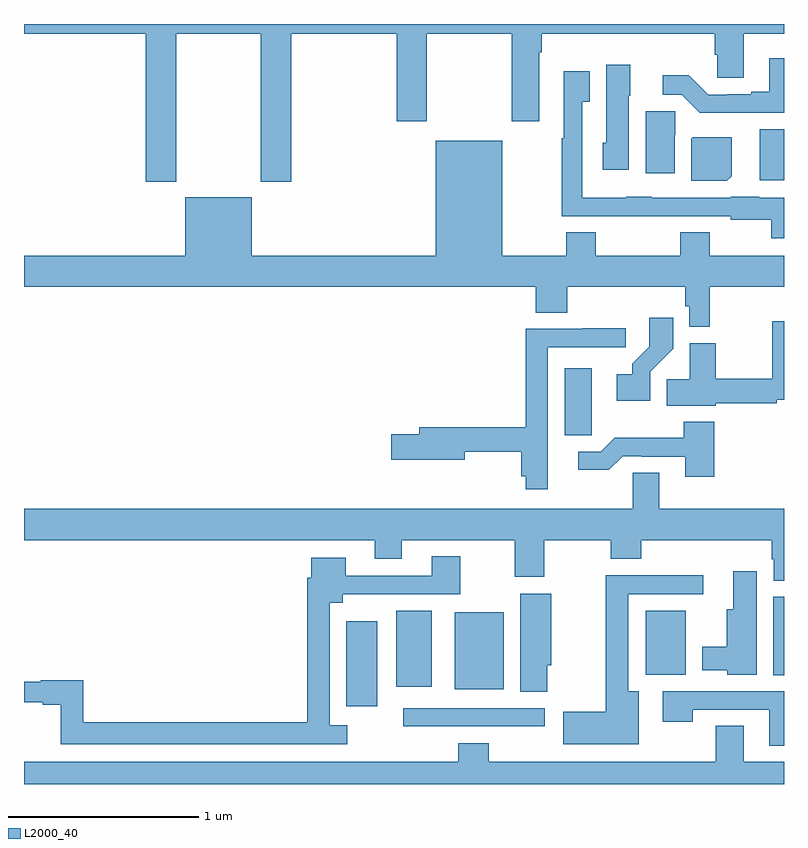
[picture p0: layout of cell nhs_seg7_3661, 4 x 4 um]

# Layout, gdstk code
import gdstk
lib = gdstk.Library(unit=1e-6, precision=1e-09)
def R(c, l, rs):  # rectangles x0, y0, x1, y1
    for r in rs: c.add(gdstk.rectangle(r[:2], r[2:], *l))
def P(c, l, *ps):  # polygons
    for p in ps: c.add(gdstk.Polygon(p, *l))
L2000_40 = (2000, 40)

nhs_seg7_3661 = lib.new_cell('nhs_seg7_3661')
R(nhs_seg7_3661, L2000_40, [(346.995,998.304,347.74,998.4), (346.697,998.409,346.858,998.857), (347.267,998.498,347.524,998.905), (346.958,998.513,347.146,998.911), (348.944,998.572,349,998.986), (348.272,998.576,348.484,998.911), (348.872,1001.177,349,1001.446)])
P(nhs_seg7_3661, L2000_40, [(345,1001.948),(345.641,1001.948),(345.641,1001.169),(345.801,1001.169),(345.801,1001.948),(346.246,1001.948),(346.246,1001.169),(346.406,1001.169),(346.406,1001.948),(346.961,1001.948),(346.961,1001.487),(347.121,1001.487),(347.121,1001.948),(347.566,1001.948),(347.566,1001.487),(347.713,1001.487),(347.713,1001.852),(347.726,1001.852),(347.726,1001.948),(348.635,1001.948),(348.635,1001.838),(348.648,1001.838),(348.648,1001.716),(348.787,1001.716),(348.787,1001.948),(349,1001.948),(349,1002),(345,1002)],
  [(349,1001.821),(348.923,1001.821),(348.923,1001.644),(348.827,1001.644),(348.827,1001.631),(348.7,1001.631),(348.7,1001.628),(348.6,1001.628),(348.498,1001.731),(348.363,1001.731),(348.363,1001.628),(348.462,1001.628),(348.557,1001.534),(349,1001.534)],
  [(348.184,1001.622),(348.19,1001.622),(348.19,1001.785),(348.065,1001.785),(348.065,1001.376),(348.047,1001.376),(348.047,1001.232),(348.184,1001.232)],
  [(349,1001.086),(348.87,1001.086),(348.87,1001.092),(348.72,1001.092),(348.72,1001.085),(348.303,1001.085),(348.303,1001.092),(348.171,1001.092),(348.171,1001.086),(347.937,1001.086),(347.937,1001.591),(347.977,1001.591),(347.977,1001.752),(347.841,1001.752),(347.841,1001.399),(347.829,1001.399),(347.829,1000.989),(348.071,1000.989),(348.071,1000.988),(348.303,1000.988),(348.303,1000.989),(348.72,1000.989),(348.72,1000.97),(348.933,1000.97),(348.933,1000.872),(349,1000.872)],
  [(348.424,1001.418),(348.428,1001.418),(348.428,1001.541),(348.272,1001.541),(348.272,1001.214),(348.424,1001.214)],
  [(348.724,1001.2),(348.724,1001.404),(348.52,1001.404),(348.512,1001.396),(348.512,1001.174),(348.698,1001.174)],
  [(348.61,1000.616),(349,1000.616),(349,1000.78),(348.609,1000.78),(348.609,1000.904),(348.454,1000.904),(348.454,1000.78),(348.009,1000.78),(348.009,1000.904),(347.854,1000.904),(347.854,1000.78),(347.518,1000.78),(347.518,1001.386),(347.168,1001.386),(347.168,1000.78),(346.198,1000.78),(346.198,1001.089),(345.848,1001.089),(345.848,1000.78),(345,1000.78),(345,1000.616),(347.693,1000.616),(347.693,1000.48),(347.858,1000.48),(347.858,1000.616),(348.481,1000.616),(348.481,1000.515),(348.501,1000.515),(348.501,1000.406),(348.61,1000.406)],
  [(348.297,1000.171),(348.416,1000.29),(348.416,1000.453),(348.291,1000.453),(348.291,1000.301),(348.2,1000.211),(348.2,1000.156),(348.12,1000.156),(348.12,1000.016),(348.297,1000.016)],
  [(348.64,1000.003),(348.962,1000.003),(348.962,1000.023),(349,1000.023),(349,1000.435),(348.938,1000.435),(348.938,1000.132),(348.64,1000.132),(348.64,1000.321),(348.503,1000.321),(348.503,1000.13),(348.382,1000.13),(348.382,999.992),(348.64,999.992)],
  [(347.757,1000.299),(348.166,1000.299),(348.166,1000.398),(347.941,1000.398),(347.941,1000.395),(347.641,1000.395),(347.641,999.878),(347.081,999.878),(347.081,999.842),(346.932,999.842),(346.932,999.707),(347.32,999.707),(347.32,999.75),(347.617,999.75),(347.617,999.62),(347.641,999.62),(347.641,999.552),(347.757,999.552)],
  [(347.988,999.946),(347.989,999.946),(347.989,1000.189),(347.846,1000.189),(347.846,999.835),(347.988,999.835)],
  [(348.632,999.907),(348.472,999.907),(348.472,999.823),(348.109,999.823),(348.036,999.75),(347.916,999.75),(347.916,999.653),(348.077,999.653),(348.15,999.726),(348.25,999.726),(348.25,999.723),(348.479,999.723),(348.479,999.618),(348.632,999.618)],
  [(349,999.448),(348.343,999.448),(348.343,999.638),(348.204,999.638),(348.204,999.448),(345,999.448),(345,999.284),(346.847,999.284),(346.847,999.185),(346.987,999.185),(346.987,999.284),(347.584,999.284),(347.584,999.09),(347.739,999.09),(347.739,999.284),(348.088,999.284),(348.088,999.185),(348.248,999.185),(348.248,999.284),(348.935,999.284),(348.935,999.183),(348.947,999.183),(348.947,999.071),(349,999.071)],
  [(346.702,998.308),(346.608,998.308),(346.608,998.954),(346.678,998.954),(346.678,999),(347.295,999),(347.295,999.199),(347.147,999.199),(347.147,999.096),(346.693,999.096),(346.693,999.19),(346.511,999.19),(346.511,999.086),(346.492,999.086),(346.492,998.324),(345.311,998.324),(345.311,998.546),(345.088,998.546),(345.088,998.539),(345,998.539),(345,998.43),(345.098,998.43),(345.098,998.418),(345.194,998.418),(345.194,998.208),(346.702,998.208)],
  [(348.856,999.121),(348.734,999.121),(348.734,998.92),(348.698,998.92),(348.698,998.722),(348.569,998.722),(348.569,998.6),(348.702,998.6),(348.702,998.576),(348.856,998.576)],
  [(348.235,998.488),(348.181,998.488),(348.181,999),(348.574,999),(348.574,999.098),(348.061,999.098),(348.061,998.381),(347.838,998.381),(347.838,998.21),(348.235,998.21)],
  [(347.754,998.625),(347.775,998.625),(347.775,999.001),(347.612,999.001),(347.612,998.485),(347.754,998.485)],
  [(349,998.487),(348.363,998.487),(348.363,998.328),(348.519,998.328),(348.519,998.391),(348.923,998.391),(348.923,998.202),(349,998.202)],
  [(349,998.116),(348.787,998.116),(348.787,998.306),(348.64,998.306),(348.64,998.116),(347.445,998.116),(347.445,998.215),(347.285,998.215),(347.285,998.116),(345,998.116),(345,998),(349,998)])

lib.write_gds('nhs_seg7_3661.gds')
